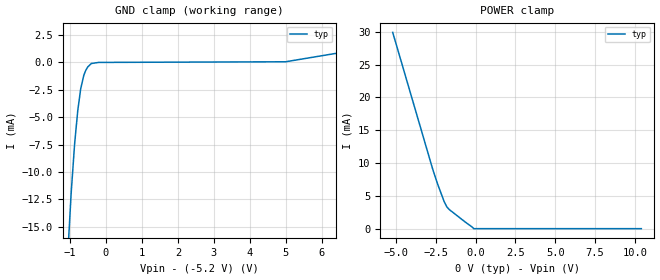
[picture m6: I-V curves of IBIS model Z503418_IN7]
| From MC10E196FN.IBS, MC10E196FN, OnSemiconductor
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| (C) COPYRIGHT 1993-2000
| MENTOR GRAPHICS CORPORATION
| ICX STANDARD LIBRARY, ICX PROJECT MODELING,
| ICX CUSTOM MODELING, ICX VENDOR MODEL
| ALL RIGHTS RESERVED.
| THE FOLLOWING ARE TRADEMARKS OR SERVICE MARKS OF
| MENTOR GRAPHICS CORPORATION:ICX (R), ICX STANDARD
| LIBRARY(R), ICX PROJECT MODELING(R), ICX CUSTOM
| MODELING(R), qualityIBIS(TM), MODELVIEWER(TM),
| AND MODELEDITOR(TM)
| ALL COPIES OF SOFTWARE, INCLUDING BUT NOT LIMITED TO
| ANY MODIFICATIONS, ENHANCEMENTS OR DERIVATIVE WORKS,
| MUST CONTAIN ALL MENTOR GRAPHICS CORPORATION'S
| NOTICES AND LEGENDS, INCLUDING THOSE EMBEDDED IN
| SOFTWARE AND THOSE AFFIXED TO SOFTWARE MEDIUM
| AND CONTAINER, AS RECEIVED FROM MENTOR GRAPHICS
| CORPORATION.
| Model Application Version 1.89 2/18/99.
[Model] Z503418_IN7
Model_type Input_ECL
Vinl = -1.480V
Vinh = -1.130V
C_comp 4.000pF NA NA
| variable typ   min   max
[Voltage Range] -5.200V NA NA
[GND Clamp Reference] -5.200V NA NA
[POWER Clamp Reference] 0.000V NA NA
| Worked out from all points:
|   GND clamp passes 1 mA (typ) near -0.59 V on its own axis
[GND Clamp]
-5.2V     -331.2mA   NA         NA
-1.041V   -16.31mA   NA         NA
-870mV    -7.407mA   NA         NA
-783mV    -4.387mA   NA         NA
-701mV    -2.412mA   NA         NA
-616mV    -1.201mA   NA         NA
-562mV    -746.1uA   NA         NA
-503mV    -418.8uA   NA         NA
-407mV    -119.4uA   NA         NA
-203.5mV  -19.23uA   NA         NA
4.992V    40.2uA     NA         NA
10.4V     2.993mA    NA         NA
[POWER Clamp]
-5.2V     29.91mA    NA         NA
-2.693V   9.086mA    NA         NA
-2.383V   6.805mA    NA         NA
-1.973V   4.137mA    NA         NA
-1.802V   3.315mA    NA         NA
-1.646V   2.9mA      NA         NA
-672.4mV  1.054mA    NA         NA
-224.7mV  262.7uA    NA         NA
-112.4mV  0A         NA         NA
10.4V     0A         NA         NA
